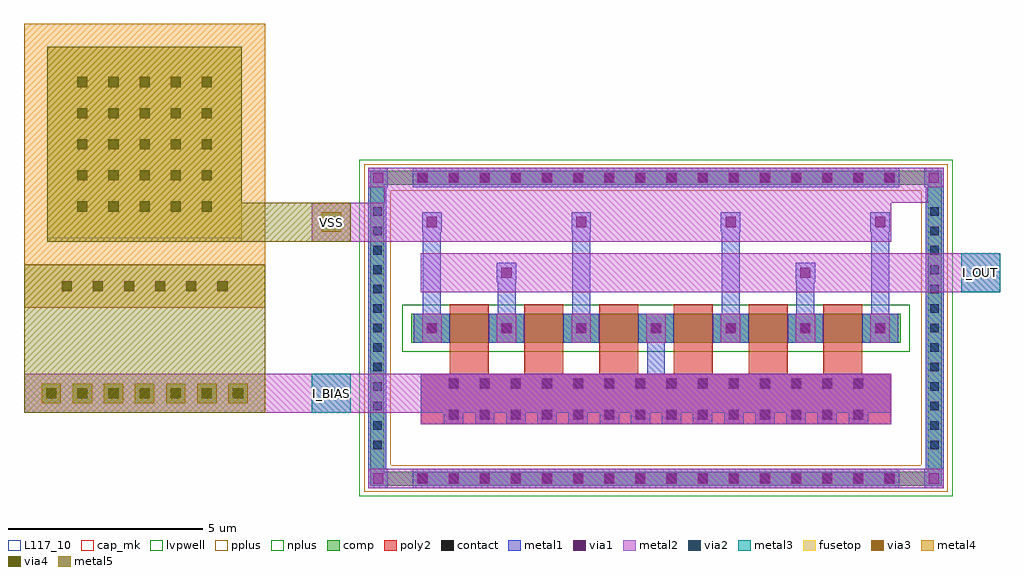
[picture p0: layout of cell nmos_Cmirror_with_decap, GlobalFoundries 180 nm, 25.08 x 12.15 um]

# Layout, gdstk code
import gdstk
lib = gdstk.Library(unit=1e-6, precision=5e-09)
def R(c, l, rs):  # rectangles x0, y0, x1, y1
    for r in rs: c.add(gdstk.rectangle(r[:2], r[2:], *l))
def A(c, l, x, y, w, h, nx, ny, dx, dy):  # array of equal rectangles
    R(c, l, [(x+i*dx, y+j*dy, x+i*dx+w, y+j*dy+h) for i in range(nx) for j in range(ny)])
def P(c, l, *ps):  # polygons
    for p in ps: c.add(gdstk.Polygon(p, *l))
comp = (22, 0)
poly2 = (30, 0)
pplus = (31, 0)
nplus = (32, 0)
contact = (33, 0)
metal1 = (34, 0)
via1 = (35, 0)
metal2 = (36, 0)
via2 = (38, 0)
via3 = (40, 0)
via4 = (41, 0)
metal3 = (42, 0)
metal4 = (46, 0)
fusetop = (75, 0)
metal5 = (81, 0)
cap_mk = (117, 5)
L117_10 = (117, 10)
lvpwell = (204, 0)

cmirror_interdigitized = lib.new_cell('cmirror_interdigitized')
A(cmirror_interdigitized, comp, -6.18, -4.045, 0.36, 0.36, 16, 2, 0.8, 7.73)
A(cmirror_interdigitized, comp, -7.34, -3.18, 0.36, 0.36, 1, 13, 0, 0.5)
A(cmirror_interdigitized, comp, 6.98, -3.18, 0.36, 0.36, 1, 13, 0, 0.5)
R(cmirror_interdigitized, comp, [(-6.18,-4.045,6.18,-3.685), (-7.34,-3.18,-6.98,3.18), (6.98,-3.18,7.34,3.18), (-6.29,-0.375,6.29,0.375), (-6.18,3.685,6.18,4.045)])
P(cmirror_interdigitized, comp, [(7.34,4.045),(-7.34,4.045),(-7.34,-3.685),(-6.98,-3.685),(-6.98,3.685),(6.98,3.685),(6.98,-3.685),(-6.98,-3.685),(-7.34,-3.685),(-7.34,-4.045),(7.34,-4.045)])
A(cmirror_interdigitized, poly2, -5.38, -2.405, 0.36, 0.36, 14, 2, 0.8, 0.8)
A(cmirror_interdigitized, poly2, -5.3, -1.18, 1, 0.565, 6, 1, 1.92, 0)
A(cmirror_interdigitized, poly2, -5.3, -0.615, 1, 1.23, 6, 1, 1.92, 0)
R(cmirror_interdigitized, poly2, [(-6.04,-2.475,6.04,-1.175)])
P(cmirror_interdigitized, pplus, [(7.5,4.205),(-7.5,4.205),(-7.5,-3.525),(-6.82,-3.525),(-6.82,3.525),(6.82,3.525),(6.82,-3.525),(-6.82,-3.525),(-7.5,-3.525),(-7.5,-4.205),(7.5,-4.205)])
R(cmirror_interdigitized, nplus, [(-6.52,-0.605,6.52,0.605)])
A(cmirror_interdigitized, contact, -6.11, -3.975, 0.22, 0.22, 16, 2, 0.8, 7.73)
A(cmirror_interdigitized, contact, -7.27, -3.11, 0.22, 0.22, 1, 13, 0, 0.5)
A(cmirror_interdigitized, contact, 7.05, -3.11, 0.22, 0.22, 1, 13, 0, 0.5)
A(cmirror_interdigitized, contact, -5.31, -2.335, 0.22, 0.22, 14, 2, 0.8, 0.8)
A(cmirror_interdigitized, contact, -5.87, -0.11, 0.22, 0.22, 7, 1, 1.92, 0)
A(cmirror_interdigitized, metal1, -6.25, -4.115, 0.5, 0.5, 16, 2, 0.8, 7.73)
A(cmirror_interdigitized, metal1, -7.39, -3.23, 0.46, 0.46, 1, 13, 0, 0.5)
A(cmirror_interdigitized, metal1, 6.93, -3.23, 0.46, 0.46, 1, 13, 0, 0.5)
A(cmirror_interdigitized, metal1, -5.45, -2.475, 0.5, 0.5, 14, 2, 0.8, 0.8)
A(cmirror_interdigitized, metal1, -6.22, -0.375, 0.92, 0.75, 7, 1, 1.92, 0)
A(cmirror_interdigitized, metal1, -5.99, -0.23, 0.46, 0.46, 7, 1, 1.92, 0)
A(cmirror_interdigitized, metal1, -5.99, 0.375, 0.46, 2.6, 4, 1, 3.84, 0)
A(cmirror_interdigitized, metal1, -6.01, 2.475, 0.5, 0.5, 4, 1, 3.84, 0)
R(cmirror_interdigitized, metal1, [(-7.39,-4.115,-6.89,-3.615), (-7.39,-4.115,-6.89,-3.615), (-7.39,-4.115,-6.93,-3.685), (-6.25,-4.115,6.25,-3.615), (6.89,-4.115,7.39,-3.615), (6.89,-4.115,7.39,-3.615), (6.93,-4.115,7.39,-3.685), (-7.39,-3.685,-6.93,3.685), (6.93,-3.685,7.39,3.685), (-6.04,-2.175,6.04,-1.175), (-0.23,-1.175,0.23,-0.375), (-6.01,-0.25,-5.51,0.25), (-6.01,-0.25,-5.51,0.25), (-4.09,-0.25,-3.59,0.25), (-4.09,-0.25,-3.59,0.25), (-2.17,-0.25,-1.67,0.25), (-2.17,-0.25,-1.67,0.25), (-0.25,-0.25,0.25,0.25), (-0.25,-0.25,0.25,0.25), (1.67,-0.25,2.17,0.25), (1.67,-0.25,2.17,0.25), (3.59,-0.25,4.09,0.25), (3.59,-0.25,4.09,0.25), (5.51,-0.25,6.01,0.25), (5.51,-0.25,6.01,0.25), (-4.07,0.375,-3.61,1.675), (3.61,0.375,4.07,1.675), (-4.09,1.175,-3.59,1.675), (3.59,1.175,4.09,1.675), (-7.39,3.615,-6.89,4.115), (-7.39,3.615,-6.89,4.115), (-6.25,3.615,6.25,4.115), (6.89,3.615,7.39,4.115), (6.89,3.615,7.39,4.115), (-7.39,3.685,-6.93,4.115), (6.93,3.685,7.39,4.115)])
A(cmirror_interdigitized, via1, -6.13, -3.995, 0.26, 0.26, 16, 2, 0.8, 7.73)
A(cmirror_interdigitized, via1, -5.33, -2.355, 0.26, 0.26, 14, 2, 0.8, 0.8)
A(cmirror_interdigitized, via1, -5.89, -0.13, 0.26, 0.26, 7, 1, 1.92, 0)
A(cmirror_interdigitized, via1, -5.89, 2.595, 0.26, 0.26, 4, 1, 3.84, 0)
R(cmirror_interdigitized, via1, [(-7.27,-3.995,-7.01,-3.735), (7.01,-3.995,7.27,-3.735), (-3.97,1.295,-3.71,1.555), (3.71,1.295,3.97,1.555), (-7.27,3.735,-7.01,3.995), (7.01,3.735,7.27,3.995)])
A(cmirror_interdigitized, metal2, -6.25, -4.115, 0.5, 0.5, 16, 2, 0.8, 7.73)
A(cmirror_interdigitized, metal2, -5.45, -2.475, 0.5, 0.5, 14, 2, 0.8, 0.8)
A(cmirror_interdigitized, metal2, -6.01, -0.375, 0.5, 0.75, 7, 1, 1.92, 0)
A(cmirror_interdigitized, metal2, -6.01, -0.25, 0.5, 0.5, 7, 1, 1.92, 0)
A(cmirror_interdigitized, metal2, -6.01, 2.475, 0.5, 0.5, 4, 1, 3.84, 0)
R(cmirror_interdigitized, metal2, [(-7.39,-4.115,-6.89,-3.615), (-7.39,-4.115,-6.89,-3.615), (-7.39,-4.115,-6.98,-3.615), (-6.98,-4.115,6.98,-3.615), (6.89,-4.115,7.39,-3.615), (6.89,-4.115,7.39,-3.615), (6.98,-4.115,7.39,-3.615), (-6.04,-2.475,6.04,-1.175), (-6.04,-2.175,6.04,-1.175), (-6.04,0.925,6.04,1.925), (-4.09,1.175,-3.59,1.675), (3.59,1.175,4.09,1.675), (-6.04,2.225,6.04,3.225), (-6.98,3.225,6.98,4.115), (-7.39,3.615,-6.89,4.115), (-7.39,3.615,-6.89,4.115), (-7.39,3.615,-6.98,4.115), (-6.98,3.615,6.98,4.115), (6.89,3.615,7.39,4.115), (6.89,3.615,7.39,4.115), (6.98,3.615,7.39,4.115)])
R(cmirror_interdigitized, lvpwell, [(-7.62,-4.325,7.62,4.325)])

via_array_6f2c13fe = lib.new_cell('via_array_6f2c13fe')
R(via_array_6f2c13fe, metal2, [(-0.5,-0.5,0.5,0.5), (-0.25,-0.25,0.25,0.25)])
R(via_array_6f2c13fe, via2, [(-0.13,-0.13,0.13,0.13)])
R(via_array_6f2c13fe, metal3, [(-0.5,-0.5,0.5,0.5), (-0.25,-0.25,0.25,0.25)])

via_array_6f2c13fe_1 = lib.new_cell('via_array_6f2c13fe$1')
R(via_array_6f2c13fe_1, metal2, [(-0.5,-0.5,0.5,0.5), (-0.25,-0.25,0.25,0.25)])
R(via_array_6f2c13fe_1, via2, [(-0.13,-0.13,0.13,0.13)])
R(via_array_6f2c13fe_1, metal3, [(-0.5,-0.5,0.5,0.5), (-0.25,-0.25,0.25,0.25)])

via_array_3a42d9f3 = lib.new_cell('via_array_3a42d9f3')
R(via_array_3a42d9f3, metal2, [(-0.5,-0.5,0.5,0.5), (-0.25,-0.25,0.25,0.25)])
R(via_array_3a42d9f3, via2, [(-0.13,-0.13,0.13,0.13)])
R(via_array_3a42d9f3, via3, [(-0.13,-0.13,0.13,0.13)])
R(via_array_3a42d9f3, via4, [(-0.13,-0.13,0.13,0.13)])
R(via_array_3a42d9f3, metal3, [(-0.25,-0.25,0.25,0.25)])
R(via_array_3a42d9f3, metal4, [(-0.25,-0.25,0.25,0.25)])
R(via_array_3a42d9f3, metal5, [(-0.5,-0.5,0.5,0.5), (-0.25,-0.25,0.25,0.25)])

straight_route_6235058b = lib.new_cell('straight_route_6235058b')
R(straight_route_6235058b, metal2, [(-8.84,-2.175,-6.04,-1.175)])

straight_route_451e8217 = lib.new_cell('straight_route_451e8217')
R(straight_route_451e8217, metal2, [(-6.04,0.925,7.84,1.925)])

straight_route_6f13f35c = lib.new_cell('straight_route_6f13f35c')
R(straight_route_6f13f35c, metal2, [(-8.84,2.225,-6.04,3.225)])

unnamed_12886c16 = lib.new_cell('Unnamed_12886c16')
A(unnamed_12886c16, via4, -1.73, -1.73, 0.26, 0.26, 5, 5, 0.8, 0.8)
R(unnamed_12886c16, metal4, [(-3.1,-3.1,3.1,3.1)])
R(unnamed_12886c16, fusetop, [(-2.5,-2.5,2.5,2.5)])
A(unnamed_12886c16, metal5, -1.85, -1.85, 0.5, 0.5, 5, 5, 0.8, 0.8)
R(unnamed_12886c16, metal5, [(-2.5,-2.5,2.5,2.5)])
R(unnamed_12886c16, cap_mk, [(-3.1,-3.1,3.1,3.1)])
R(unnamed_12886c16, L117_10, [(-2.5,-2.5,2.5,-2.4)])

via_array_9dce04dd = lib.new_cell('via_array_9dce04dd')
A(via_array_9dce04dd, via4, -2.13, -0.13, 0.26, 0.26, 6, 1, 0.8, 0)
A(via_array_9dce04dd, metal4, -2.25, -0.25, 0.5, 0.5, 6, 1, 0.8, 0)
R(via_array_9dce04dd, metal4, [(-3.1,-0.55,3.1,0.55)])
A(via_array_9dce04dd, metal5, -2.25, -0.25, 0.5, 0.5, 6, 1, 0.8, 0)
R(via_array_9dce04dd, metal5, [(-3.1,-0.55,3.1,0.55)])

straight_route_6c6a1f9f = lib.new_cell('straight_route_6c6a1f9f')
R(straight_route_6c6a1f9f, metal5, [(-10.64,2.225,-8.84,3.225)])

l_route_fddd199d = lib.new_cell('L_route_fddd199d')
A(l_route_fddd199d, metal2, -15.79, -1.925, 0.5, 0.5, 7, 1, 0.8, 0)
R(l_route_fddd199d, metal2, [(-16.24,-2.175,-8.84,-1.175), (-15.79,-1.925,-10.49,-1.425)])
A(l_route_fddd199d, via2, -15.67, -1.805, 0.26, 0.26, 7, 1, 0.8, 0)
A(l_route_fddd199d, via3, -15.67, -1.805, 0.26, 0.26, 7, 1, 0.8, 0)
A(l_route_fddd199d, via4, -15.67, -1.805, 0.26, 0.26, 7, 1, 0.8, 0)
A(l_route_fddd199d, metal3, -15.79, -1.925, 0.5, 0.5, 7, 1, 0.8, 0)
A(l_route_fddd199d, metal4, -15.79, -1.925, 0.5, 0.5, 7, 1, 0.8, 0)
A(l_route_fddd199d, metal5, -15.79, -1.925, 0.5, 0.5, 7, 1, 0.8, 0)
R(l_route_fddd199d, metal5, [(-16.24,-2.175,-10.04,-1.175), (-16.24,-2.175,-10.04,1.625)])

nmos_cmirror_with_decap = lib.new_cell('nmos_Cmirror_with_decap')
nmos_cmirror_with_decap.add(gdstk.Reference(cmirror_interdigitized, (0,0)))
nmos_cmirror_with_decap.add(gdstk.Reference(via_array_6f2c13fe, (-8.34,-1.675)))
nmos_cmirror_with_decap.add(gdstk.Reference(via_array_6f2c13fe_1, (8.34,1.425)))
nmos_cmirror_with_decap.add(gdstk.Reference(via_array_3a42d9f3, (-8.34,2.725)))
nmos_cmirror_with_decap.add(gdstk.Reference(straight_route_6235058b, (0,0)))
nmos_cmirror_with_decap.add(gdstk.Reference(straight_route_451e8217, (0,0)))
nmos_cmirror_with_decap.add(gdstk.Reference(straight_route_6f13f35c, (0,0)))
nmos_cmirror_with_decap.add(gdstk.Reference(unnamed_12886c16, (-13.14,4.725)))
nmos_cmirror_with_decap.add(gdstk.Reference(via_array_9dce04dd, (-13.14,1.075)))
nmos_cmirror_with_decap.add(gdstk.Reference(straight_route_6c6a1f9f, (0,0)))
nmos_cmirror_with_decap.add(gdstk.Reference(l_route_fddd199d, (0,0)))
nmos_cmirror_with_decap.add(gdstk.Label('I_BIAS', (-8.34,-1.675), layer=42, texttype=10))
nmos_cmirror_with_decap.add(gdstk.Label('I_OUT', (8.34,1.425), layer=42, texttype=10))
nmos_cmirror_with_decap.add(gdstk.Label('VSS', (-8.34,2.725), layer=81, texttype=10))

lib.write_gds('nmos_Cmirror_with_decap.gds')
